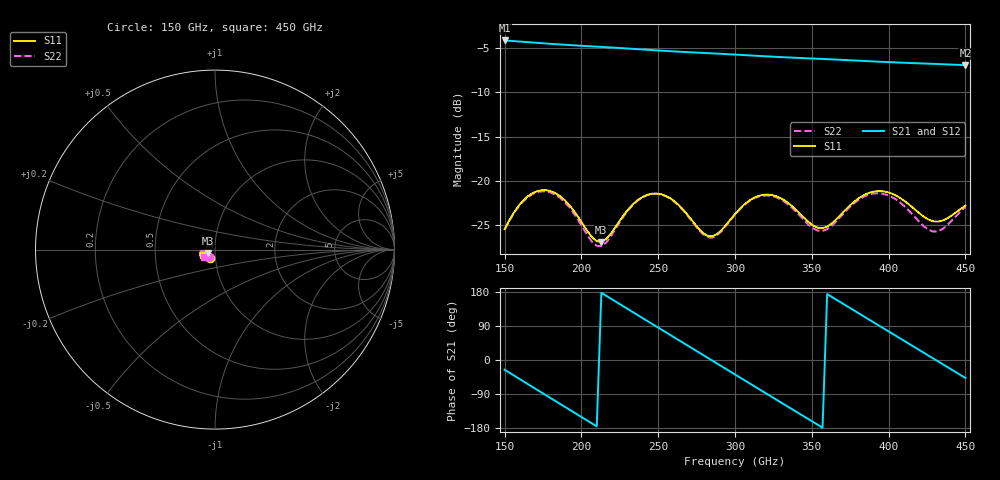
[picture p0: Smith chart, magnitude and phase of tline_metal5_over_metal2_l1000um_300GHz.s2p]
#  GHZ S DB R 50
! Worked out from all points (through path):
!   101 points, 150 GHz to 450 GHz, reference 50 ohm
!   highest |S21| = -4.15 dB at 150 GHz (marker M1); lowest = -6.9 dB at 450 GHz (marker M2)
!   group delay of S21, straight-line fit = 6.86 ps
!   lowest |S11| = -26.8 dB at 213 GHz (marker M3), VSWR 1.10, Z = 46.1 - j1.97 ohm
!   |S11| at or under -10 dB: start of sweep to end of sweep
!   |S22| runs from -27.3 to -21.2 dB; largest |S21 - S12| = 6.5e-14
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150  -25.42 -124.6  -4.15 -25.6  -4.15 -25.6  -25.48 -125.3
162  -22.21 -130.9  -4.30 -55.7  -4.30 -55.7  -22.30 -131.7
174  -21.03 -146.8  -4.46 -85.7  -4.46 -85.7  -21.16 -147.7
186  -21.69 -162.8  -4.60 -115.5  -4.60 -115.5  -21.88 -163.9
201  -24.87 -170.7  -4.76 -152.8  -4.76 -152.8  -25.28 -171.6
213  -26.85 -152.1  -4.88 177.3  -4.88 177.3  -27.34 -150.5
234  -22.54 -140.7  -5.10 125.1  -5.10 125.1  -22.61 -139.1
252  -21.49 -160.1  -5.30 80.5  -5.30 80.5  -21.53 -159.3
264  -22.81 -171.0  -5.42 50.9  -5.42 50.9  -22.88 -170.6
276  -25.28 -169.9  -5.53 21.2  -5.53 21.2  -25.42 -169.4
285  -26.23 -156.4  -5.61 -1.0  -5.61 -1.0  -26.38 -155.5
300  -23.72 -142.7  -5.75 -38.2  -5.75 -38.2  -23.79 -141.8
312  -21.91 -149.6  -5.86 -67.8  -5.86 -67.8  -21.98 -149.0
324  -21.57 -161.2  -5.98 -97.4  -5.98 -97.4  -21.68 -160.9
336  -22.66 -170.2  -6.08 -126.9  -6.08 -126.9  -22.84 -170.2
351  -25.02 -165.9  -6.19 -163.9  -6.19 -163.9  -25.35 -165.3
366  -24.30 -148.3  -6.31 159.1  -6.31 159.1  -24.53 -146.7
381  -21.88 -150.3  -6.44 122.1  -6.44 122.1  -22.05 -149.3
402  -21.41 -168.1  -6.61 70.5  -6.61 70.5  -21.78 -168.2
426  -24.34 -169.8  -6.77 11.6  -6.77 11.6  -25.49 -166.1
438  -24.22 -158.4  -6.85 -17.9  -6.85 -17.9  -25.00 -149.4
450  -22.77 -155.9  -6.94 -47.5  -6.94 -47.5  -22.89 -146.1
